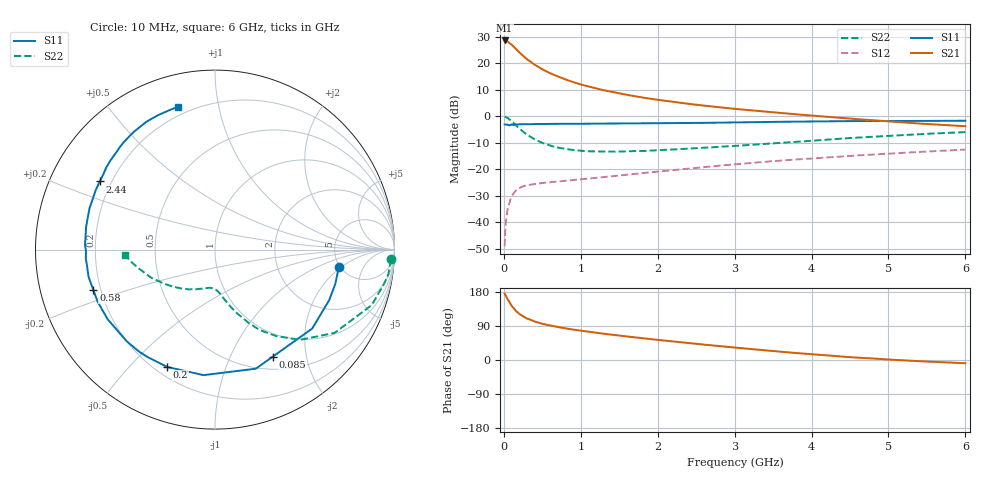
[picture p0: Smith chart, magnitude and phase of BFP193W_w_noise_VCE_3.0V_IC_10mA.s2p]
! Infineon Technologies  Discrete & RF Semiconductors
! BFP193W
! VCE = 3.0 V,  IC =  10 mA
! Common Emitter S-Parameters:  Jan 2016
# GHz  S  MA  R  50
!  f  S11  S21  S12  S22
! GHz  MAG  ANG  MAG  ANG  MAG  ANG  MAG  ANG
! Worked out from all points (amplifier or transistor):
!   210 points, 10 MHz to 6 GHz, reference 50 ohm
!   highest |S21| = 28.6 dB at 10 MHz (marker M1)
!   |S21| within 3 dB of that: start of sweep to 150.5 MHz
!   unconditionally stable (mu >= 1): 1.296 GHz to 4.301 GHz
!   at 185 MHz: K = 0.21, MSG = 26.1 dB, |S12| = -27.5 dB
!   at 1.52 GHz: K = 1.07, MAG = 13.8 dB, |S12| = -22.3 dB
!   at 6 GHz: K = 0.92, MSG = 4.4 dB, |S12| = -12.6 dB
!   lowest NFmin = 1.30 dB at 450 MHz
!   S11 on the Smith chart (normalised r, x): 10 MHz: 4.89, -1.82; 85 MHz: 0.66, -1.46; 200 MHz: 0.25, -0.64; 580 MHz: 0.17, -0.16; 2.44 GHz: 0.16, +0.27; 6 GHz: 0.16, +0.76
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0.01  0.6969 -7.9  27.05 175.0  0.0035 88.1  0.9827 -3.2
0.02  0.697 -16.0  27.04 171.8  0.0074 82.2  0.9755 -8.1
0.03  0.6958 -23.9  26.76 167.8  0.0111 79.5  0.9591 -11.8
0.05  0.6979 -39.1  25.84 160.0  0.0176 72.1  0.927 -19.4
0.085  0.6777 -61.7  23.36 148.9  0.0264 61.1  0.84 -29.8
0.1  0.7014 -71.1  22.6 143.5  0.0303 58.4  0.8124 -34.8
0.15  0.7023 -95.2  19.18 130.7  0.0387 48.6  0.691 -46.7
0.2  0.7061 -112.2  16.18 121.6  0.0437 42.4  0.589 -54.8
0.26  0.7084 -126.5  13.49 113.8  0.0479 37.2  0.4992 -61.8
0.3  0.7093 -133.9  11.98 109.4  0.0497 34.9  0.4481 -65.4
0.4  0.7131 -147.1  9.411 101.5  0.0525 31.8  0.3657 -71.8
0.5  0.7154 -156.1  7.708 95.5  0.0547 31.1  0.314 -76.2
0.58  0.7144 -161.5  6.738 92.0  0.0563 31.2  0.286 -78.9
0.8  0.7184 -172.4  4.949 83.5  0.0604 32.7  0.2408 -84.5
1.02  0.7197 -179.8  3.914 77.0  0.0646 34.9  0.2215 -89.5
1.4  0.7293 170.1  2.887 66.9  0.0732 39.2  0.2146 -96.8
2.02  0.7374 157.0  2.027 52.7  0.0903 44.1  0.2291 -108.1
2.44  0.7462 149.4  1.687 43.9  0.1035 45.6  0.2464 -116.2
3.1  0.7672 138.1  1.338 31.1  0.1268 45.8  0.2806 -129.2
4.1  0.7986 123.2  1.001 13.7  0.1634 42.8  0.3519 -148.9
5.1  0.8136 112.2  0.78 0.1  0.1999 38.2  0.4343 -165.6
6  0.8221 104.6  0.648 -8.6  0.2347 33.7  0.5011 -176.5
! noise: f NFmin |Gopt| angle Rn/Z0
0.45  1.3  0.22  143  0.11
0.9  1.3  0.34  160  0.11
1.8  2.05  0.54  -153  0.14
